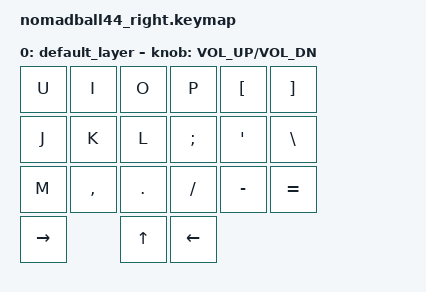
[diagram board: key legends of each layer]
/*
 * NomadBall44 Right - Default keymap (21 keys + encoder)
 */

#include <behaviors.dtsi>
#include <dt-bindings/zmk/keys.h>

/ {
	keymap {
		compatible = "zmk,keymap";

		default_layer {
			bindings = <
				&kp U &kp I &kp O &kp P &kp LBKT &kp RBKT
				&kp J &kp K &kp L &kp SEMI &kp SQT &kp BSLH
				&kp M &kp COMMA &kp DOT &kp FSLH &kp MINUS &kp EQL
				&kp RIGHT &kp UP &kp LEFT
			>;
			sensor-bindings = <&inc_dec_kp C_VOL_UP C_VOL_DN>;
		};
	};
};
